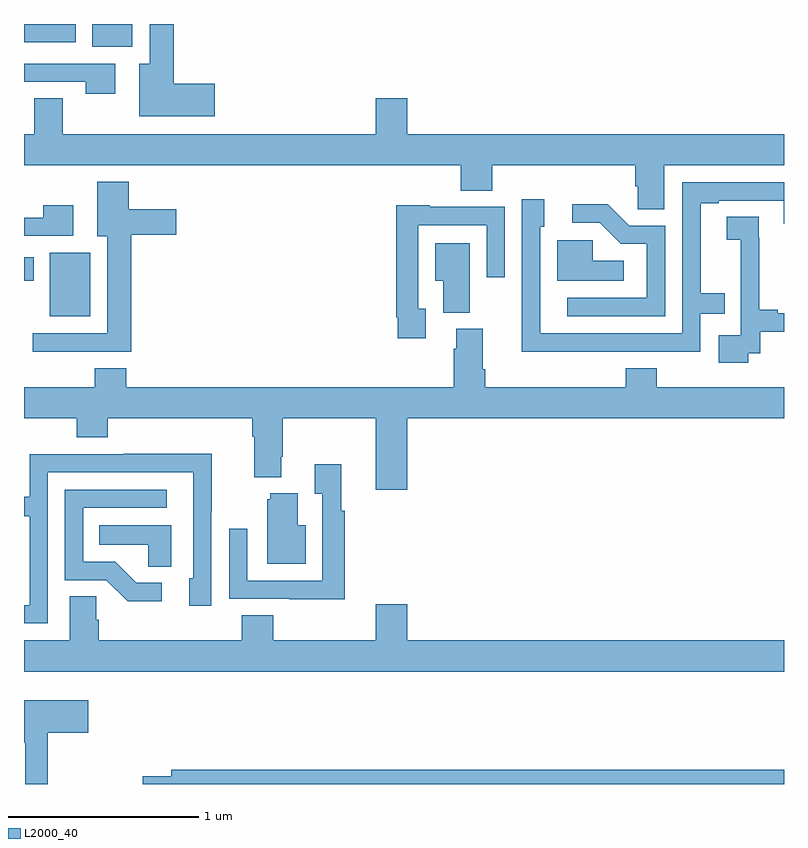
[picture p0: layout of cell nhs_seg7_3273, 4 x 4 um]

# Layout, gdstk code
import gdstk
lib = gdstk.Library(unit=1e-6, precision=1e-09)
def R(c, l, rs):  # rectangles x0, y0, x1, y1
    for r in rs: c.add(gdstk.rectangle(r[:2], r[2:], *l))
def P(c, l, *ps):  # polygons
    for p in ps: c.add(gdstk.Polygon(p, *l))
L2000_40 = (2000, 40)

nhs_seg7_3273 = lib.new_cell('nhs_seg7_3273')
R(nhs_seg7_3273, L2000_40, [(319.136,1026.461,319.348,1026.796), (319,1026.65,319.051,1026.772), (319.358,1027.88,319.57,1028), (319,1027.904,319.273,1028)])
P(nhs_seg7_3273, L2000_40, [(320.005,1027.685),(319.787,1027.685),(319.787,1028),(319.661,1028),(319.661,1027.792),(319.607,1027.792),(319.607,1027.514),(320.005,1027.514)],
  [(319.48,1027.791),(319,1027.791),(319,1027.695),(319.324,1027.695),(319.324,1027.632),(319.48,1027.632)],
  [(322.369,1027.256),(323,1027.256),(323,1027.42),(321.016,1027.42),(321.016,1027.609),(320.852,1027.609),(320.852,1027.42),(319.203,1027.42),(319.203,1027.61),(319.055,1027.61),(319.055,1027.42),(319,1027.42),(319,1027.256),(321.299,1027.256),(321.299,1027.123),(321.464,1027.123),(321.464,1027.256),(322.217,1027.256),(322.217,1027.147),(322.23,1027.147),(322.23,1027.024),(322.369,1027.024)],
  [(319.565,1026.89),(319.801,1026.89),(319.801,1027.024),(319.552,1027.024),(319.552,1027.171),(319.385,1027.171),(319.385,1026.884),(319.439,1026.884),(319.439,1026.372),(319.047,1026.372),(319.047,1026.275),(319.565,1026.275)],
  [(322.082,1026.276),(322.56,1026.276),(322.56,1026.474),(322.688,1026.474),(322.688,1026.583),(322.561,1026.583),(322.561,1027.056),(322.657,1027.056),(322.657,1027.071),(322.998,1027.071),(322.998,1026.948),(323,1026.948),(323,1027.167),(322.464,1027.167),(322.464,1026.372),(321.717,1026.372),(321.717,1026.933),(321.739,1026.933),(321.739,1027.078),(321.621,1027.078),(321.621,1026.578),(321.62,1026.578),(321.62,1026.275),(322.082,1026.275)],
  [(322.374,1026.939),(322.185,1026.939),(322.072,1027.052),(321.885,1027.052),(321.885,1026.954),(322.029,1026.954),(322.14,1026.843),(322.278,1026.843),(322.278,1026.558),(321.858,1026.558),(321.858,1026.462),(322.374,1026.462)],
  [(321.115,1026.501),(321.075,1026.501),(321.075,1026.942),(321.435,1026.942),(321.435,1026.666),(321.531,1026.666),(321.531,1027.038),(321.135,1027.038),(321.135,1027.045),(320.959,1027.045),(320.959,1026.457),(320.967,1026.457),(320.967,1026.345),(321.115,1026.345)],
  [(319.258,1027.045),(319.102,1027.045),(319.102,1026.981),(319,1026.981),(319,1026.885),(319.258,1026.885)],
  [(322.812,1026.267),(322.874,1026.267),(322.874,1026.381),(323,1026.381),(323,1026.477),(322.966,1026.477),(322.966,1026.497),(322.87,1026.497),(322.87,1026.875),(322.868,1026.875),(322.868,1026.986),(322.698,1026.986),(322.698,1026.865),(322.772,1026.865),(322.772,1026.667),(322.773,1026.667),(322.773,1026.363),(322.656,1026.363),(322.656,1026.216),(322.812,1026.216)],
  [(322.156,1026.754),(321.993,1026.754),(321.993,1026.861),(321.806,1026.861),(321.806,1026.65),(322.156,1026.65)],
  [(321.346,1026.847),(321.164,1026.847),(321.164,1026.65),(321.206,1026.65),(321.206,1026.481),(321.346,1026.481)],
  [(321.016,1025.924),(323,1025.924),(323,1026.088),(322.331,1026.088),(322.331,1026.187),(322.166,1026.187),(322.166,1026.088),(321.428,1026.088),(321.428,1026.184),(321.415,1026.184),(321.415,1026.396),(321.275,1026.396),(321.275,1026.29),(321.263,1026.29),(321.263,1026.088),(319.538,1026.088),(319.538,1026.187),(319.373,1026.187),(319.373,1026.088),(319,1026.088),(319,1025.924),(319.277,1025.924),(319.277,1025.825),(319.442,1025.825),(319.442,1025.924),(320.201,1025.924),(320.201,1025.828),(320.213,1025.828),(320.213,1025.615),(320.353,1025.615),(320.353,1025.722),(320.361,1025.722),(320.361,1025.924),(320.852,1025.924),(320.852,1025.55),(321.016,1025.55)],
  [(319.125,1025.64),(319.89,1025.64),(319.89,1025.082),(319.871,1025.082),(319.871,1024.938),(319.986,1024.938),(319.986,1025.431),(319.989,1025.431),(319.989,1025.738),(319.525,1025.738),(319.525,1025.736),(319.029,1025.736),(319.029,1025.511),(319,1025.511),(319,1025.41),(319.029,1025.41),(319.029,1024.941),(319,1024.941),(319,1024.845),(319.125,1024.845)],
  [(320.687,1025.438),(320.669,1025.438),(320.669,1025.683),(320.531,1025.683),(320.531,1025.527),(320.571,1025.527),(320.571,1025.07),(320.175,1025.07),(320.175,1025.344),(320.079,1025.344),(320.079,1024.974),(320.395,1024.974),(320.395,1024.973),(320.687,1024.973)],
  [(319.726,1025.058),(319.591,1025.058),(319.48,1025.169),(319.311,1025.169),(319.311,1025.454),(319.75,1025.454),(319.75,1025.55),(319.215,1025.55),(319.215,1025.073),(319.434,1025.073),(319.547,1024.961),(319.726,1024.961)],
  [(320.482,1025.362),(320.44,1025.362),(320.44,1025.53),(320.297,1025.53),(320.297,1025.499),(320.279,1025.499),(320.279,1025.159),(320.482,1025.159)],
  [(319.774,1025.362),(319.396,1025.362),(319.396,1025.258),(319.653,1025.258),(319.653,1025.143),(319.774,1025.143)],
  [(323,1024.756),(321.016,1024.756),(321.016,1024.945),(320.852,1024.945),(320.852,1024.756),(320.312,1024.756),(320.312,1024.889),(320.147,1024.889),(320.147,1024.756),(319.394,1024.756),(319.394,1024.865),(319.38,1024.865),(319.38,1024.988),(319.241,1024.988),(319.241,1024.756),(319,1024.756),(319,1024.592),(323,1024.592)],
  [(319.126,1024.271),(319.339,1024.271),(319.339,1024.441),(319,1024.441),(319,1024.217),(319.007,1024.217),(319.007,1024),(319.126,1024)],
  [(323,1024.076),(319.775,1024.076),(319.775,1024.04),(319.626,1024.04),(319.626,1024),(323,1024)])

lib.write_gds('nhs_seg7_3273.gds')
